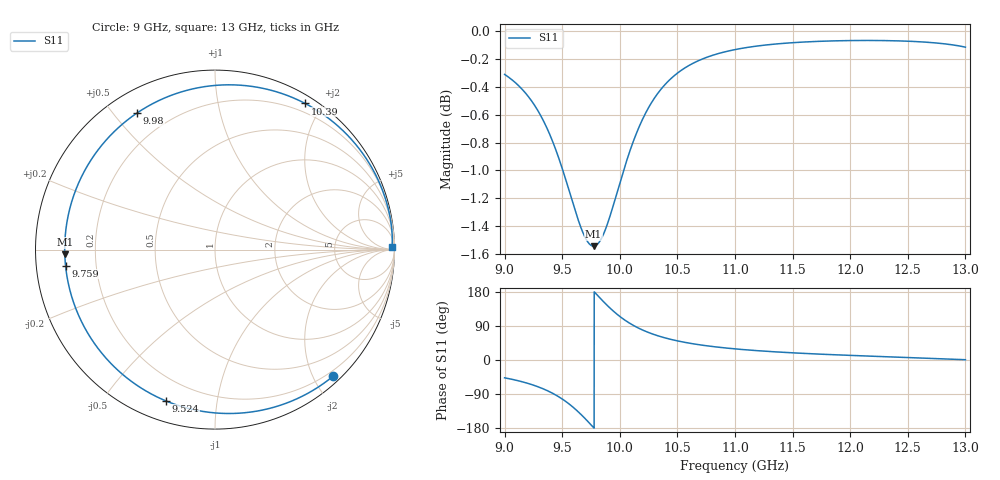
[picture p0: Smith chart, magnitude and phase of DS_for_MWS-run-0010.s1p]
! TOUCHSTONE file generated by CST DESIGN STUDIO
! Date and time: Tue Feb  4 17:59:56 2025
! Project name: C:\Work\MatlabApps\UnitCellOptimizationMatlab\CST\unitcell.cst
! Tree item: Tasks\Sweep1\SPara1\S-Parameters
! Header version: 2024
! Port assignment regex: !\s*Touchstone port\s*([0-9]+)\s*=\s*(CST MWS port|CST DES external port|CST DES block port)\s*(.+)\s* \(\"(.*)\"\)(\s*mode\s*([0-9]+))?.*
! Touchstone port assignment:
! Touchstone port 1 = CST DES external port 1 ("")
# GHz S MA R 50
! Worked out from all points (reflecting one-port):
!   4001 points, 9 GHz to 13 GHz, reference 50 ohm
!   lowest |S11| = -1.5 dB at 9.772 GHz (marker M1), VSWR 11.30, Z = 4.43 - j0.785 ohm
!   phase of S11 starts at -47 deg and turns -312 deg over the sweep
!   S11 on the Smith chart (normalised r, x): 9 GHz: 0.11, -2.30; 9.524 GHz: 0.09, -0.72; 9.759 GHz: 0.09, -0.05; 9.98 GHz: 0.09, +0.58; 10.39 GHz: 0.09, +1.79; 13 GHz: open
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9  0.9646 -47.0
9.142  0.9539 -56.6
9.272  0.9387 -68.6
9.338  0.9283 -76.5
9.402  0.916 -85.5
9.5  0.8928 -102.9
9.524  0.8864 -107.9
9.582  0.8705 -121.4
9.637  0.8561 -136.1
9.702  0.843 -155.6
9.759  0.8376 -173.9
9.772  0.8374 -178.2
9.816  0.8396 167.4
9.862  0.8463 152.8
9.922  0.8602 135.0
9.98  0.8763 119.7
10  0.882 114.9
10.07  0.9012 100.0
10.151  0.9204 85.9
10.266  0.9411 70.6
10.393  0.9566 58.3
10.5  0.9656 50.5
10.717  0.977 39.1
11  0.9845 29.4
11.5  0.9902 18.9
12  0.9919 12.2
12.5  0.9914 6.7
13  0.9865 0.8
